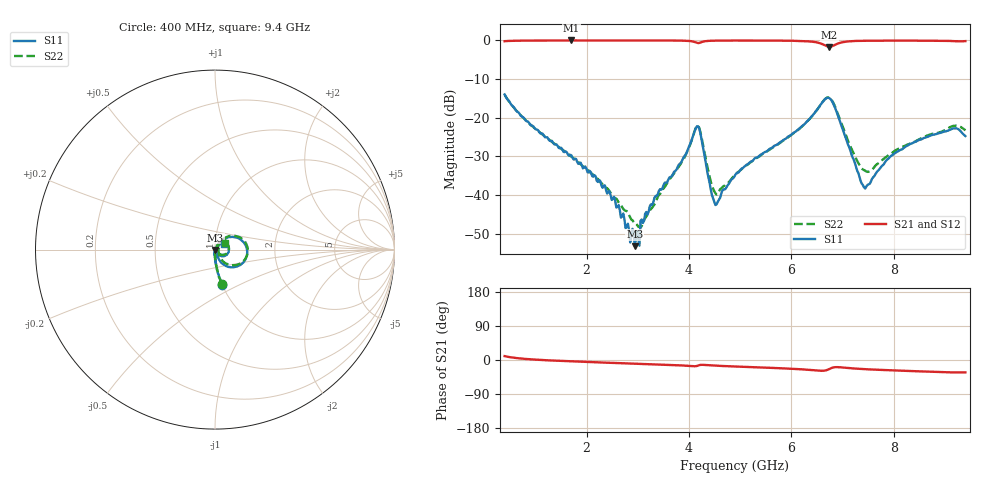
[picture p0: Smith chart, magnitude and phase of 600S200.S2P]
!  American Technical Ceramics  Date:  4/26/2005
!  One Norden Lane
!  Huntington Station,  NY.  11746-2102
!  Tel:  (631) 622-4700  Fax:  (631) 622-4748
!  Part Number  600S200  Mounting Orientation: Horizontal
!  Description: Ultra Low ESR Microwave capacitors
!  Application: Coupling, Bypass, Tuning, DC Block
!  Filters, Matching
# GHZ S DB R 50
! Freq  |S11|  S11 Ph  |S21|  S21 Ph  |S12|  S12 Ph  |S22|  S22 Ph
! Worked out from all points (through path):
!   401 points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, 400 MHz to 9.4 GHz, reference 50 ohm
!   highest |S21| = -0.02 dB at 1.705 GHz (marker M1); lowest = -1.7 dB at 6.745 GHz (marker M2)
!   group delay of S21, straight-line fit = 11.1 ps
!   lowest |S11| = -53.2 dB at 2.943 GHz (marker M3), VSWR 1.00, Z = 50.2 - j0.14 ohm
!   |S11| at or under -10 dB: start of sweep to end of sweep
!   |S22| runs from -48.4 to -14.1 dB; largest |S21 - S12| = 0.0082
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0.4  -13.98 -78.8  -0.21 10.2  -0.27 10.2  -14.11 -78.5
0.85  -20.96 -85.0  -0.06 2.4  -0.11 2.5  -21.15 -85.4
1.705  -29.75 -91.0  -0.02 -3.6  -0.05 -3.4  -30.11 -88.3
1.908  -32.34 -93.8  -0.02 -4.7  -0.05 -4.4  -32.31 -87.3
2.493  -41.29 -87.2  -0.02 -7.5  -0.03 -7.3  -39.74 -77.3
2.808  -47.43 -66.5  -0.02 -9.0  -0.03 -8.8  -44.45 -59.7
2.943  -53.24 -39.7  -0.03 -9.7  -0.03 -9.5  -47.46 -50.7
2.988  -49.47 -27.9  -0.03 -9.9  -0.03 -9.7  -47.74 -42.3
3.078  -46.34 9.7  -0.03 -10.3  -0.03 -10.1  -48.05 23.1
3.415  -38.90 50.9  -0.03 -11.8  -0.03 -11.7  -39.94 55.9
3.888  -30.44 53.6  -0.08 -14.5  -0.07 -14.4  -30.90 61.8
4.158  -22.22 3.6  -0.65 -15.7  -0.64 -15.5  -22.10 15.0
4.225  -24.06 -36.1  -0.55 -12.9  -0.54 -12.8  -23.77 -23.1
4.495  -41.76 -21.4  -0.08 -14.8  -0.06 -14.8  -39.02 -14.7
4.9  -34.92 53.0  -0.04 -17.2  -0.03 -17.1  -34.84 48.1
6.408  -19.51 41.0  -0.34 -26.6  -0.37 -27.0  -19.57 44.7
6.745  -14.96 -17.4  -1.68 -23.6  -1.73 -23.5  -14.85 -10.6
6.993  -22.56 -65.8  -0.50 -19.7  -0.53 -19.4  -21.94 -55.5
7.42  -38.02 -21.1  -0.11 -24.1  -0.11 -23.9  -33.55 -16.4
7.915  -30.34 48.1  -0.07 -27.0  -0.06 -26.9  -29.60 39.0
9.13  -22.95 40.0  -0.17 -32.7  -0.16 -32.6  -22.27 44.2
9.4  -24.76 30.7  -0.19 -32.6  -0.19 -32.6  -23.29 32.1
